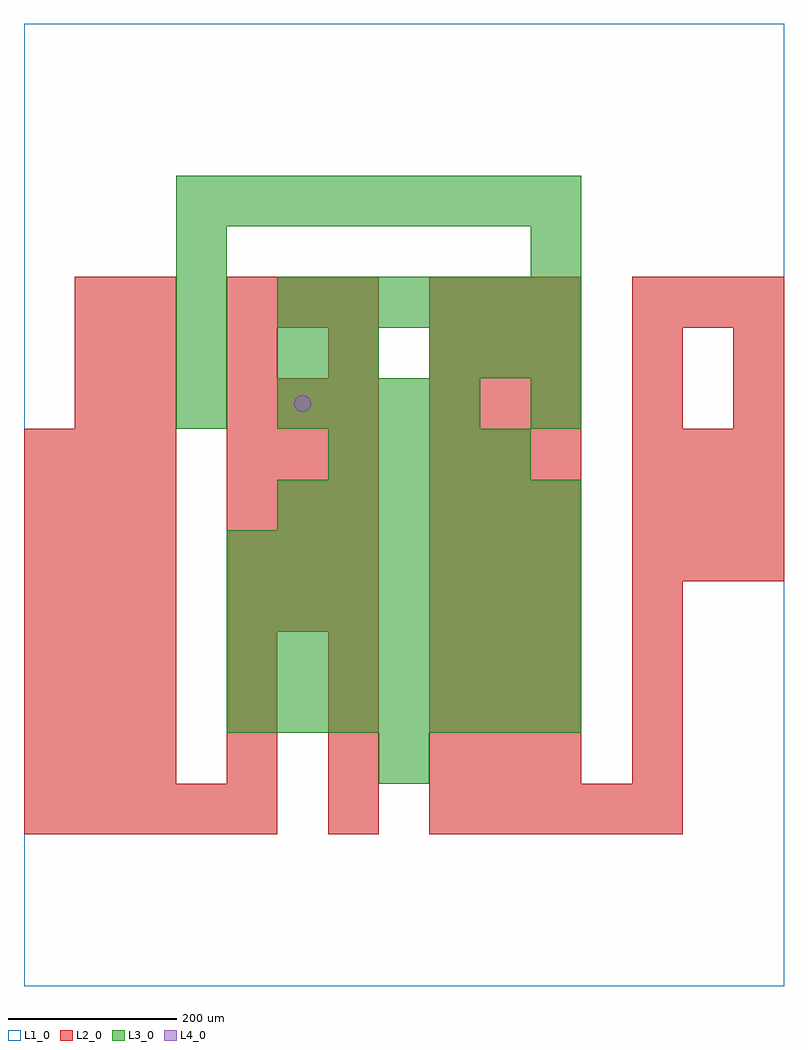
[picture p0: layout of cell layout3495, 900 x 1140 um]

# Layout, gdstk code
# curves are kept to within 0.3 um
import gdstk
lib = gdstk.Library(unit=1e-6, precision=1e-09)
def R(c, l, rs):  # rectangles x0, y0, x1, y1
    for r in rs: c.add(gdstk.rectangle(r[:2], r[2:], *l))
def A(c, l, x, y, w, h, nx, ny, dx, dy):  # array of equal rectangles
    R(c, l, [(x+i*dx, y+j*dy, x+i*dx+w, y+j*dy+h) for i in range(nx) for j in range(ny)])
def P(c, l, *ps):  # polygons
    for p in ps: c.add(gdstk.Polygon(p, *l))
L1_0 = (1, 0)
L2_0 = (2, 0)
L3_0 = (3, 0)
L4_0 = (4, 0)

layout3495 = lib.new_cell('layout3495')
R(layout3495, L1_0, [(0,0,900,1140)])
A(layout3495, L2_0, 0, 180, 60, 60, 5, 1, 60, 0)
A(layout3495, L2_0, 480, 180, 60, 60, 5, 1, 60, 0)
A(layout3495, L2_0, 0, 240, 60, 60, 3, 7, 60, 60)
A(layout3495, L2_0, 240, 240, 60, 60, 3, 3, 120, 60)
A(layout3495, L2_0, 540, 240, 60, 60, 1, 3, 0, 60)
A(layout3495, L2_0, 600, 240, 60, 60, 1, 3, 0, 60)
A(layout3495, L2_0, 720, 240, 60, 60, 1, 4, 0, 60)
A(layout3495, L2_0, 240, 420, 60, 60, 3, 5, 60, 60)
A(layout3495, L2_0, 480, 420, 60, 60, 3, 5, 60, 60)
A(layout3495, L2_0, 720, 480, 60, 60, 3, 3, 60, 60)
A(layout3495, L2_0, 60, 660, 60, 60, 1, 3, 0, 60)
A(layout3495, L2_0, 120, 720, 60, 60, 4, 1, 120, 0)
A(layout3495, L2_0, 600, 720, 60, 60, 3, 1, 120, 0)
A(layout3495, L2_0, 240, 780, 60, 60, 3, 1, 60, 0)
A(layout3495, L2_0, 480, 780, 60, 60, 3, 1, 60, 0)
A(layout3495, L2_0, 720, 780, 60, 60, 3, 1, 60, 0)
R(layout3495, L2_0, [(360,180,420,240), (120,660,180,720), (720,660,780,720), (840,660,900,720), (540,720,600,780), (120,780,180,840)])
A(layout3495, L3_0, 240, 300, 60, 60, 7, 4, 60, 60)
A(layout3495, L3_0, 300, 540, 60, 60, 6, 2, 60, 240)
A(layout3495, L3_0, 360, 600, 60, 60, 4, 1, 60, 0)
A(layout3495, L3_0, 180, 660, 60, 60, 1, 4, 0, 60)
A(layout3495, L3_0, 300, 660, 60, 60, 4, 1, 60, 0)
A(layout3495, L3_0, 480, 720, 60, 60, 3, 1, 60, 0)
A(layout3495, L3_0, 180, 900, 60, 60, 8, 1, 60, 0)
R(layout3495, L3_0, [(420,240,480,300), (600,660,660,720), (300,720,360,780), (360,720,420,780), (600,840,660,900)])
P(layout3495, L4_0, [(340,690),(339.239,693.827),(337.071,697.071),(333.827,699.239),(330,700),(326.173,699.239),(322.929,697.071),(320.761,693.827),(320,690),(320.761,686.173),(322.929,682.929),(326.173,680.761),(330,680),(333.827,680.761),(337.071,682.929),(339.239,686.173)])

lib.write_gds('layout3495.gds')
